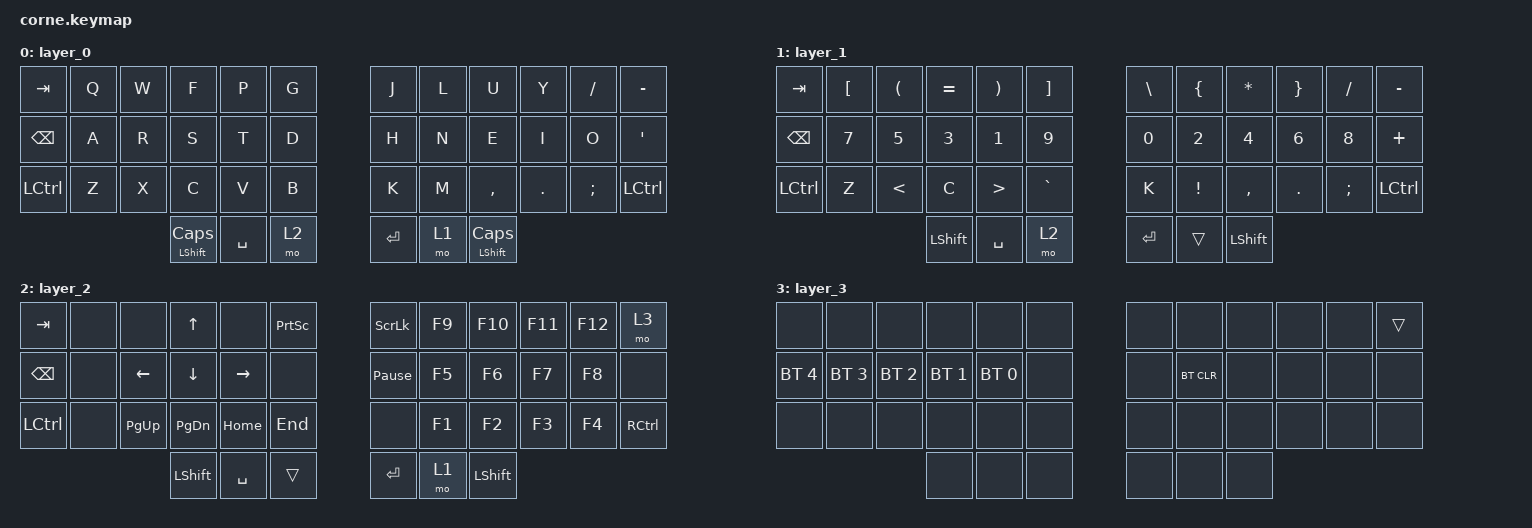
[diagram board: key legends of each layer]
/*
 * Copyright (c) 2020 The ZMK Contributors
 *
 * SPDX-License-Identifier: MIT
 */

#include <behaviors.dtsi>
#include <dt-bindings/zmk/bt.h>
#include <dt-bindings/zmk/keys.h>

/ {
    combos {
        compatible = "zmk,combos";

        r-winkey {
            bindings = <&kp LEFT_GUI>;
            key-positions = <32 33>;
        };

        l-winkey {
            bindings = <&kp LEFT_WIN>;
            key-positions = <26 27>;
        };

        menu {
            bindings = <&kp C_MENU>;
            key-positions = <31 32>;
        };

        alt {
            bindings = <&kp LEFT_ALT>;
            key-positions = <34 33>;
        };

        escape {
            bindings = <&kp ESCAPE>;
            key-positions = <0 1>;
        };

        delete {
            bindings = <&kp DELETE>;
            key-positions = <12 13>;
        };

        enter {
            bindings = <&kp ENTER>;
            key-positions = <29 28>;
        };
    };

    keymap {
        compatible = "zmk,keymap";

        layer_0 {
            bindings = <
&kp TAB    &kp Q  &kp W  &kp F           &kp P      &kp G    &kp J      &kp L  &kp U           &kp Y    &kp FSLH  &kp MINUS
&kp BSPC   &kp A  &kp R  &kp S           &kp T      &kp D    &kp H      &kp N  &kp E           &kp I    &kp O     &kp SQT
&kp LCTRL  &kp Z  &kp X  &kp C           &kp V      &kp B    &kp K      &kp M  &kp COMMA       &kp DOT  &kp SEMI  &kp LCTRL
                         &mt LSHFT CAPS  &kp SPACE  &mo 2    &kp ENTER  &mo 1  &mt LSHFT CAPS
            >;
        };

        layer_1 {
            bindings = <
&kp TAB    &kp LEFT_BRACKET  &kp LEFT_PARENTHESIS  &kp EQUAL     &kp RIGHT_PARENTHESIS  &kp RIGHT_BRACKET    &kp BACKSLASH  &kp LEFT_BRACE   &kp ASTERISK  &kp RIGHT_BRACE  &kp SLASH  &kp MINUS
&kp BSPC   &kp N7            &kp N5                &kp NUMBER_3  &kp NUMBER_1           &kp NUMBER_9         &kp N0         &kp NUMBER_2     &kp NUMBER_4  &kp NUMBER_6     &kp N8     &kp PLUS
&kp LCTRL  &kp Z             &kp LESS_THAN         &kp C         &kp GREATER_THAN       &kp GRAVE            &kp K          &kp EXCLAMATION  &kp COMMA     &kp PERIOD       &kp SEMI   &kp LCTRL
                                                   &kp LSHFT     &kp SPACE              &mo 2                &kp RETURN     &trans           &kp LSHFT
            >;
        };

        layer_2 {
            bindings = <
&kp TAB        &none  &none           &kp UP_ARROW    &none            &kp PRINTSCREEN    &kp SCROLLLOCK   &kp F9  &kp F10    &kp F11  &kp F12  &mo 3
&kp BACKSPACE  &none  &kp LEFT_ARROW  &kp DOWN_ARROW  &kp RIGHT_ARROW  &none              &kp PAUSE_BREAK  &kp F5  &kp F6     &kp F7   &kp F8   &none
&kp LCTRL      &none  &kp PAGE_UP     &kp PAGE_DOWN   &kp HOME         &kp END            &none            &kp F1  &kp F2     &kp F3   &kp F4   &kp RIGHT_CONTROL
                                      &kp LSHFT       &kp SPACE        &trans             &kp RETURN       &mo 1   &kp LSHFT
            >;
        };

        layer_3 {
            bindings = <
&none         &none         &none         &none         &none         &none    &none  &none       &none  &none  &none  &trans
&bt BT_SEL 4  &bt BT_SEL 3  &bt BT_SEL 2  &bt BT_SEL 1  &bt BT_SEL 0  &none    &none  &bt BT_CLR  &none  &none  &none  &none
&none         &none         &none         &none         &none         &none    &none  &none       &none  &none  &none  &none
                                          &none         &none         &none    &none  &none       &none
            >;
        };
    };
};
